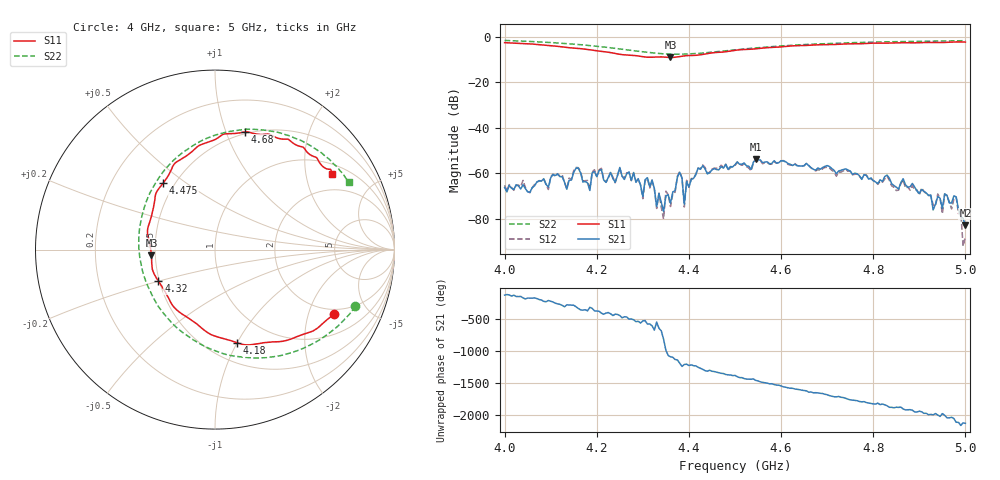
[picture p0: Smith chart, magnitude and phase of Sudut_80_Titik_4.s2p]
# Hz S RI R 50
! CMT, C1220, 16058040, 17.2.0/1
! Date: 15/08/2018 12:28:07
! Data: Format (Calibration Info)
! Freq  S11: Re/Im (F2)  S21: Re/Im (F2)  S12: Re/Im (F2)  S22: Re/Im (F2)
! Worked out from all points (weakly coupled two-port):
!   201 points, 4 GHz to 5 GHz, reference 50 ohm
!   highest |S21| = -53.70 dB at 4.545 GHz (marker M1); lowest = -83.0 dB at 5 GHz (marker M2)
!   lowest |S11| = -9.0 dB at 4.36 GHz (marker M3), VSWR 2.10, Z = 23.8 - j1.76 ohm
!   |S11| at or under -10 dB: nowhere
!   |S22| runs from -7.5 to -1.5 dB; largest |S21 - S12| = 0.00016
!   S11 on the Smith chart (normalised r, x): 4 GHz: 1.77, -2.96; 4.18 GHz: 0.69, -1.00; 4.32 GHz: 0.49, -0.20; 4.475 GHz: 0.43, +0.41; 4.68 GHz: 0.48, +1.17; 5 GHz: 1.31, +2.83
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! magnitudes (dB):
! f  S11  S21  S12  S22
! 4 GHz  -2.4  -66.3  -65.3  -1.5
! 4.17 GHz  -5.2  -63.9  -63.5  -3.4
! 4.18 GHz  -5.5  -64.3  -63.2  -3.6
! 4.25 GHz  -7.6  -57.5  -57.8  -5.2
! 4.3 GHz  -8.7  -70.3  -71.3  -6.5
! 4.32 GHz  -8.9  -63.0  -63.2  -6.9
! 4.33 GHz  -8.8  -74.8  -75.5  -7.1
! 4.335 GHz  -8.7  -69.0  -68.8  -7.2
! 4.345 GHz  -8.8  -76.9  -80.2  -7.4
! 4.35 GHz  -8.9  -70.1  -67.9  -7.4
! 4.36 GHz  -9.0  -73.2  -74.7  -7.5
! 4.38 GHz  -8.5  -59.6  -59.3  -7.5
! 4.39 GHz  -8.3  -73.6  -74.9  -7.5
! 4.395 GHz  -8.2  -63.6  -63.2  -7.4
! 4.42 GHz  -7.9  -57.7  -57.8  -7.2
! 4.475 GHz  -6.6  -57.8  -57.4  -6.1
! 4.5 GHz  -5.8  -56.3  -56.6  -5.6
! 4.545 GHz  -5.1  -53.7  -54.0  -4.8
! 4.67 GHz  -3.5  -58.3  -58.3  -3.1
! 4.68 GHz  -3.4  -57.7  -58.4  -3.0
! 4.835 GHz  -2.6  -62.2  -63.1  -2.1
! 5 GHz  -2.2  -83.0  -87.9  -1.6
